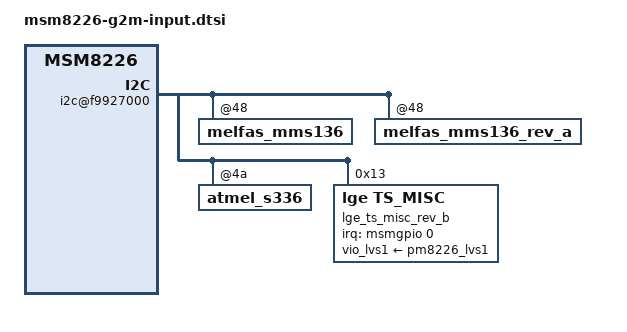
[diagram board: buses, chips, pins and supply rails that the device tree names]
/* Copyright (c) 2013, LGE Electronics. All rights reserved.
 *
 * This program is free software; you can redistribute it and/or modify
 * it under the terms of the GNU General Public License version 2 and
 * only version 2 as published by the Free Software Foundation.
 *
 * This program is distributed in the hope that it will be useful,
 * but WITHOUT ANY WARRANTY; without even the implied warranty of
 * MERCHANTABILITY or FITNESS FOR A PARTICULAR PURPOSE.  See the
 * GNU General Public License for more details.
 */

&soc {
	gpio_keys {
		home {
			unused;
		};

		quick_clip {
			unused;
		};
	};

	i2c@f9927000 { /* BLSP1 QUP5 */
		melfas_mms136@48 {
			melfas,product = "S0A47A";
			melfas,fw-image-name = "melfas/g2m_lgu_kr/g2m_lgu_kr_rev_0_v101.mfsb";
			melfas,panel-spec-name = "melfas/g2m_lgu_kr/g2m_lgu_kr_limit.txt";
			vdd-supply = <0>;
			melfas,ce = <60>;
			melfas,button-map = <0>;
			melfas,enalbe_active_mode = <0>;
			revision = "rev_0";
			status ="ok";
		};

		melfas_mms136_rev_a@48 {
			melfas,product = "S0A47A";
			melfas,fw-image-name = "melfas/g2m_lgu_kr/g2m_lgu_kr_rev_0_v101.mfsb";
			melfas,panel-spec-name = "melfas/g2m_lgu_kr/g2m_lgu_kr_limit.txt";
			vdd-supply = <0>;
			melfas,ce = <60>;
			melfas,button-map = <0>;
			melfas,enalbe_active_mode = <0>;
			revision = "rev_a...";
			status = "ok";
		};

		lge_touch@48 {
			lge,product = "S0A47A";
			lge,fw_image = "melfas/g2m_lgu_kr/g2m_lgu_kr_rev_0_v101.mfsb";
			lge,panel_spec = "melfas/g2m_lgu_kr/g2m_lgu_kr_limit.txt";
			revision = "rev_0...";
			status = "disable";
		};

		atmel_s336@4a {
			revision = "rev_b...";
			status = "ok";
			atmel,t15_key_state = <0>;
			atmel,t15_key_map = <0>;
			atmel,fw_name = "atmel/S0A47P1_2_05.fw";
			atmel,panel_check = <0>;
			atmel,use_mfts = <1>;
			atmel,ghost_detection_enable = <1>;
		};

		lge_ts_misc {
			revision = "rev_0...rev_a";
			vdd_on = <1>;
			vio_l19_on = <1>;
			vio_lvs1_on = <1>;
			irq_wake = <0>;
			status ="ok";
		};

		lge_ts_misc_rev_b {
			compatible = "lge,ts_misc";
			revision = "rev_b...";
			reg = <0x13>;
			vdd_on = <0>;
			vio_l19_on = <0>;
			vio_lvs1_on = <1>;
			vdd-supply = <0>;
			vio_l19-supply = <0>;
			vio_lvs1-supply = <&pm8226_lvs1>;
			vdd_voltage = <0>;
			vio_l19_voltage = <0>;
			vio_lvs1_voltage = <0>; // Not control
			interrupt-parent = <&msmgpio>;
			interrupts = <0 0x0>;
			gpio_int = <0>;
			irq_wake = <0>;
			status ="ok";
		};
	};
};
